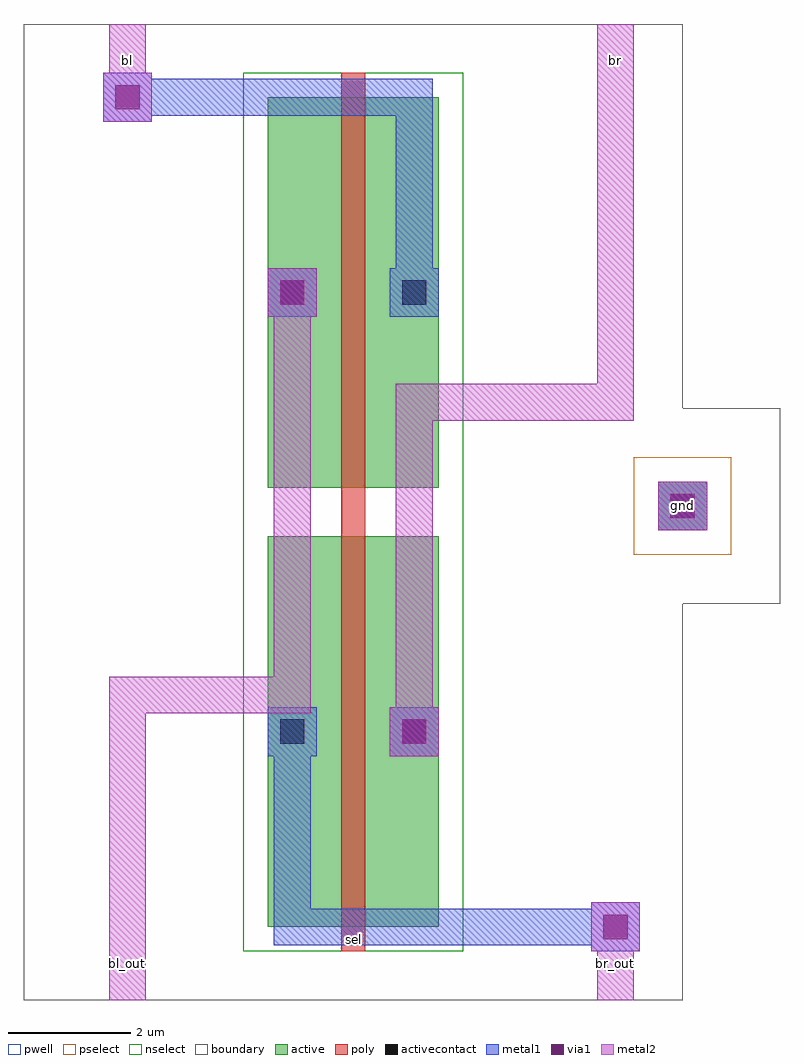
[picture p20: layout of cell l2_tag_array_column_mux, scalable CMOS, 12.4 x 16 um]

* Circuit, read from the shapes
.subckt l2_tag_array_column_mux bl bl_out br br_out gnd sel
M1 br sel br_out gnd nfet w=6.4u l=0.4u
M2 bl sel bl_out gnd nfet w=6.4u l=0.4u
.ends

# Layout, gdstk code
import gdstk
lib = gdstk.Library(unit=1e-6, precision=1e-09)
def R(c, l, rs):  # rectangles x0, y0, x1, y1
    for r in rs: c.add(gdstk.rectangle(r[:2], r[2:], *l))
pwell = (41, 0)
active = (43, 0)
pselect = (44, 0)
nselect = (45, 0)
poly = (46, 0)
activecontact = (48, 0)
metal1 = (49, 0)
via1 = (50, 0)
metal2 = (51, 0)
boundary = (63, 0)

l2_tag_array_contact_10 = lib.new_cell('l2_tag_array_contact_10')
R(l2_tag_array_contact_10, pwell, [(-1.2,-1.2,2,2)])
R(l2_tag_array_contact_10, active, [(0,0,0.8,0.8)])
R(l2_tag_array_contact_10, nselect, [(-0.4,-0.4,1.2,1.2)])
R(l2_tag_array_contact_10, activecontact, [(0.2,0.2,0.6,0.6)])
R(l2_tag_array_contact_10, metal1, [(0,0,0.8,0.8)])
R(l2_tag_array_contact_10, boundary, [(-1.2,-1.2,2,2)])

l2_tag_array_nmos_m1_w6_ = lib.new_cell('l2_tag_array_nmos_m1_w6_400_sm1_dm1')
R(l2_tag_array_nmos_m1_w6_, pwell, [(-1.2,-1.2,4,7.6)])
R(l2_tag_array_nmos_m1_w6_, active, [(0,0,2.8,6.4)])
R(l2_tag_array_nmos_m1_w6_, nselect, [(-0.4,-0.4,3.2,6.8)])
R(l2_tag_array_nmos_m1_w6_, poly, [(1.2,-0.4,1.6,6.8), (1.2,-0.4,1.6,6.8)])
R(l2_tag_array_nmos_m1_w6_, metal1, [(0,2.8,0.8,3.6), (2,2.8,2.8,3.6)])
R(l2_tag_array_nmos_m1_w6_, boundary, [(-1.2,-1.2,4,7.6)])
l2_tag_array_nmos_m1_w6_.add(gdstk.Reference(l2_tag_array_contact_10, (0,2.8)))
l2_tag_array_nmos_m1_w6_.add(gdstk.Reference(l2_tag_array_contact_10, (2,2.8)))
l2_tag_array_nmos_m1_w6_.add(gdstk.Label('G', (1.4,3.2), layer=46, texttype=0))
l2_tag_array_nmos_m1_w6_.add(gdstk.Label('S', (0.4,3.2), layer=49, texttype=0))
l2_tag_array_nmos_m1_w6_.add(gdstk.Label('D', (2.4,3.2), layer=49, texttype=0))

l2_tag_array_contact_17 = lib.new_cell('l2_tag_array_contact_17')
R(l2_tag_array_contact_17, metal1, [(0,0,0.8,0.8)])
R(l2_tag_array_contact_17, via1, [(0.2,0.2,0.6,0.6)])
R(l2_tag_array_contact_17, metal2, [(0,0,0.8,0.8)])
R(l2_tag_array_contact_17, boundary, [(0,0,0.8,0.8)])

l2_tag_array_contact_24 = lib.new_cell('l2_tag_array_contact_24')
R(l2_tag_array_contact_24, pwell, [(-1.2,-1.2,2,2)])
R(l2_tag_array_contact_24, active, [(0,0,0.8,0.8)])
R(l2_tag_array_contact_24, pselect, [(-0.4,-0.4,1.2,1.2)])
R(l2_tag_array_contact_24, activecontact, [(0.2,0.2,0.6,0.6)])
R(l2_tag_array_contact_24, metal1, [(0,0,0.8,0.8)])
R(l2_tag_array_contact_24, boundary, [(-1.2,-1.2,2,2)])

l2_tag_array_column_mux = lib.new_cell('l2_tag_array_column_mux')
R(l2_tag_array_column_mux, pwell, [(0,0,10.8,16)])
R(l2_tag_array_column_mux, poly, [(5.2,0.8,5.6,1.2), (5.2,7.6,5.6,8.4)])
R(l2_tag_array_column_mux, metal1, [(4.1,0.9,4.7,1.5), (4.4,0.9,9.7,1.5), (4.1,1.2,4.7,4.4), (10.5,7.8,11.1,8.4), (6.1,11.6,6.7,14.8), (1.4,14.5,6.4,15.1), (6.1,14.5,6.7,15.1)])
R(l2_tag_array_column_mux, metal2, [(1.4,0,2,1.2), (9.4,0,10,1.2), (1.4,1.2,2,5), (6.1,4.4,6.7,9.8), (1.4,4.7,2,5.3), (1.7,4.7,4.4,5.3), (4.1,4.7,4.7,5.3), (4.1,5,4.7,11.6), (6.1,9.5,6.7,10.1), (6.4,9.5,9.7,10.1), (9.4,9.5,10,10.1), (9.4,9.8,10,14.8), (1.4,14.8,2,16), (9.4,14.8,10,16)])
R(l2_tag_array_column_mux, boundary, [(0,0,10.8,16)])
l2_tag_array_column_mux.add(gdstk.Reference(l2_tag_array_nmos_m1_w6_, (4,1.2)))
l2_tag_array_column_mux.add(gdstk.Reference(l2_tag_array_nmos_m1_w6_, (4,8.4)))
l2_tag_array_column_mux.add(gdstk.Reference(l2_tag_array_contact_17, (1.3,14.4)))
l2_tag_array_column_mux.add(gdstk.Reference(l2_tag_array_contact_17, (9.3,0.8)))
l2_tag_array_column_mux.add(gdstk.Reference(l2_tag_array_contact_17, (4,11.2)))
l2_tag_array_column_mux.add(gdstk.Reference(l2_tag_array_contact_17, (6,4)))
l2_tag_array_column_mux.add(gdstk.Reference(l2_tag_array_contact_24, (10.4,7.7)))
l2_tag_array_column_mux.add(gdstk.Reference(l2_tag_array_contact_17, (10.4,7.7)))
l2_tag_array_column_mux.add(gdstk.Label('sel', (5.4,1), layer=46, texttype=0))
l2_tag_array_column_mux.add(gdstk.Label('bl', (1.7,15.4), layer=51, texttype=0))
l2_tag_array_column_mux.add(gdstk.Label('br', (9.7,15.4), layer=51, texttype=0))
l2_tag_array_column_mux.add(gdstk.Label('bl_out', (1.7,0.6), layer=51, texttype=0))
l2_tag_array_column_mux.add(gdstk.Label('br_out', (9.7,0.6), layer=51, texttype=0))
l2_tag_array_column_mux.add(gdstk.Label('gnd', (10.8,8.1), layer=49, texttype=0))

lib.write_gds('l2_tag_array_column_mux.gds')
